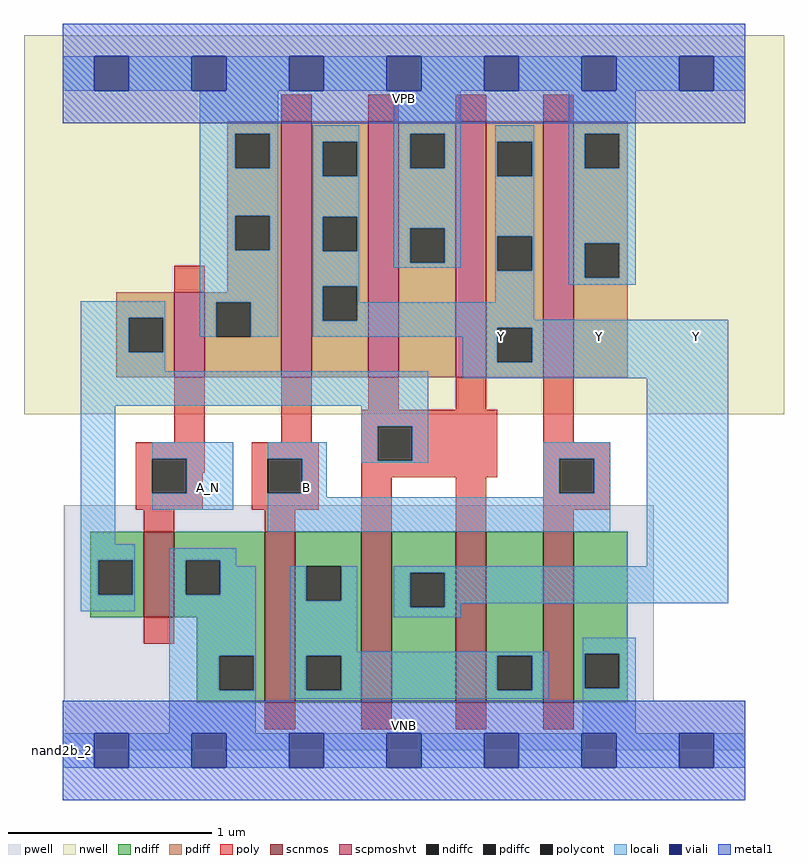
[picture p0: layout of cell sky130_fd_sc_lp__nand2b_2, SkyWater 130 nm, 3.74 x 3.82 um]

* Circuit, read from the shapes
.subckt sky130_fd_sc_lp__nand2b_2 A_N B VGND VNB VPB VPWR Y
XM1 VGND A_N n1 VNB sky130_fd_pr__nfet_01v8 w=0.42 l=0.15
XM2 n2 B VGND VNB sky130_fd_pr__nfet_01v8 w=0.84 l=0.15 m=2
XM3 Y n1 n2 VNB sky130_fd_pr__nfet_01v8 w=0.84 l=0.15 m=2
XM4 VPWR A_N n1 VPB sky130_fd_pr__pfet_01v8_hvt w=0.42 l=0.15
XM5 Y B VPWR VPB sky130_fd_pr__pfet_01v8_hvt w=1.26 l=0.15 m=2
XM6 VPWR n1 Y VPB sky130_fd_pr__pfet_01v8_hvt w=1.26 l=0.15 m=2
.ends

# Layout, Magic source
magic
tech sky130A
magscale 1 2
<< nwell >>
rect -38 331 710 704
<< pwell >>
rect 1 49 582 241
rect 0 0 672 49
<< scnmos >>
rect 80 131 110 215
rect 199 47 229 215
rect 294 47 324 215
rect 387 47 417 215
rect 473 47 503 215
<< scpmoshvt >>
rect 110 367 140 451
rect 215 367 245 619
rect 301 367 331 619
rect 387 367 417 619
rect 473 367 503 619
<< ndiff >>
rect 27 187 80 215
rect 27 153 35 187
rect 69 153 80 187
rect 27 131 80 153
rect 110 187 199 215
rect 110 153 121 187
rect 155 153 199 187
rect 110 131 199 153
rect 132 93 199 131
rect 132 59 154 93
rect 188 59 199 93
rect 132 47 199 59
rect 229 181 294 215
rect 229 147 240 181
rect 274 147 294 181
rect 229 93 294 147
rect 229 59 240 93
rect 274 59 294 93
rect 229 47 294 59
rect 324 175 387 215
rect 324 141 342 175
rect 376 141 387 175
rect 324 47 387 141
rect 417 93 473 215
rect 417 59 428 93
rect 462 59 473 93
rect 417 47 473 59
rect 503 95 556 215
rect 503 61 514 95
rect 548 61 556 95
rect 503 47 556 61
<< pdiff >>
rect 162 607 215 619
rect 162 573 170 607
rect 204 573 215 607
rect 162 526 215 573
rect 162 492 170 526
rect 204 492 215 526
rect 162 451 215 492
rect 53 426 110 451
rect 53 392 65 426
rect 99 392 110 426
rect 53 367 110 392
rect 140 441 215 451
rect 140 407 151 441
rect 185 407 215 441
rect 140 367 215 407
rect 245 599 301 619
rect 245 565 256 599
rect 290 565 301 599
rect 245 525 301 565
rect 245 491 256 525
rect 290 491 301 525
rect 245 457 301 491
rect 245 423 256 457
rect 290 423 301 457
rect 245 367 301 423
rect 331 607 387 619
rect 331 573 342 607
rect 376 573 387 607
rect 331 514 387 573
rect 331 480 342 514
rect 376 480 387 514
rect 331 367 387 480
rect 417 599 473 619
rect 417 565 428 599
rect 462 565 473 599
rect 417 506 473 565
rect 417 472 428 506
rect 462 472 473 506
rect 417 416 473 472
rect 417 382 428 416
rect 462 382 473 416
rect 417 367 473 382
rect 503 607 556 619
rect 503 573 514 607
rect 548 573 556 607
rect 503 499 556 573
rect 503 465 514 499
rect 548 465 556 499
rect 503 367 556 465
<< ndiffc >>
rect 35 153 69 187
rect 121 153 155 187
rect 154 59 188 93
rect 240 147 274 181
rect 240 59 274 93
rect 342 141 376 175
rect 428 59 462 93
rect 514 61 548 95
<< pdiffc >>
rect 170 573 204 607
rect 170 492 204 526
rect 65 392 99 426
rect 151 407 185 441
rect 256 565 290 599
rect 256 491 290 525
rect 256 423 290 457
rect 342 573 376 607
rect 342 480 376 514
rect 428 565 462 599
rect 428 472 462 506
rect 428 382 462 416
rect 514 573 548 607
rect 514 465 548 499
<< poly >>
rect 215 619 245 645
rect 301 619 331 645
rect 387 619 417 645
rect 473 619 503 645
rect 110 451 140 477
rect 110 303 140 367
rect 215 303 245 367
rect 301 335 331 367
rect 387 335 417 367
rect 294 319 428 335
rect 72 287 140 303
rect 72 253 88 287
rect 122 273 140 287
rect 186 287 252 303
rect 122 253 138 273
rect 72 237 138 253
rect 186 253 202 287
rect 236 253 252 287
rect 186 237 252 253
rect 294 285 310 319
rect 344 285 428 319
rect 294 269 428 285
rect 473 303 503 367
rect 473 287 539 303
rect 80 215 110 237
rect 199 215 229 237
rect 294 215 324 269
rect 387 215 417 269
rect 473 253 489 287
rect 523 253 539 287
rect 473 237 539 253
rect 473 215 503 237
rect 80 105 110 131
rect 199 21 229 47
rect 294 21 324 47
rect 387 21 417 47
rect 473 21 503 47
<< polycont >>
rect 88 253 122 287
rect 202 253 236 287
rect 310 285 344 319
rect 489 253 523 287
<< locali >>
rect 0 649 31 683
rect 65 649 127 683
rect 161 649 223 683
rect 257 649 319 683
rect 353 649 415 683
rect 449 649 511 683
rect 545 649 607 683
rect 641 649 672 683
rect 135 607 212 649
rect 135 573 170 607
rect 204 573 212 607
rect 135 526 212 573
rect 135 492 170 526
rect 204 492 212 526
rect 18 426 101 442
rect 18 392 65 426
rect 99 392 101 426
rect 135 441 212 492
rect 135 407 151 441
rect 185 407 212 441
rect 246 599 292 615
rect 246 565 256 599
rect 290 565 292 599
rect 246 525 292 565
rect 246 491 256 525
rect 290 491 292 525
rect 246 457 292 491
rect 326 607 392 649
rect 326 573 342 607
rect 376 573 392 607
rect 326 514 392 573
rect 326 480 342 514
rect 376 480 392 514
rect 326 475 392 480
rect 426 599 464 615
rect 426 565 428 599
rect 462 565 464 599
rect 426 506 464 565
rect 246 423 256 457
rect 290 441 292 457
rect 426 472 428 506
rect 462 472 464 506
rect 426 441 464 472
rect 498 607 564 649
rect 498 573 514 607
rect 548 573 564 607
rect 498 499 564 573
rect 498 465 514 499
rect 548 465 564 499
rect 498 458 564 465
rect 290 424 464 441
rect 290 423 655 424
rect 246 416 655 423
rect 246 407 428 416
rect 18 373 101 392
rect 394 382 428 407
rect 462 382 655 416
rect 18 339 360 373
rect 394 366 655 382
rect 18 203 52 339
rect 294 319 360 339
rect 88 287 168 303
rect 122 253 168 287
rect 88 237 168 253
rect 202 287 260 303
rect 236 253 260 287
rect 294 285 310 319
rect 344 285 360 319
rect 294 283 360 285
rect 473 287 539 303
rect 202 249 260 253
rect 473 253 489 287
rect 523 253 539 287
rect 473 249 539 253
rect 202 215 539 249
rect 18 187 71 203
rect 18 153 35 187
rect 69 153 71 187
rect 18 137 71 153
rect 105 187 171 199
rect 105 153 121 187
rect 155 181 171 187
rect 575 181 655 366
rect 155 153 190 181
rect 105 93 190 153
rect 105 59 154 93
rect 188 59 190 93
rect 105 17 190 59
rect 224 147 240 181
rect 274 147 290 181
rect 224 97 290 147
rect 326 175 655 181
rect 326 141 342 175
rect 376 145 655 175
rect 376 141 392 145
rect 326 131 392 141
rect 224 93 478 97
rect 224 59 240 93
rect 274 59 428 93
rect 462 59 478 93
rect 224 51 478 59
rect 512 95 564 111
rect 512 61 514 95
rect 548 61 564 95
rect 512 17 564 61
rect 0 -17 31 17
rect 65 -17 127 17
rect 161 -17 223 17
rect 257 -17 319 17
rect 353 -17 415 17
rect 449 -17 511 17
rect 545 -17 607 17
rect 641 -17 672 17
<< viali >>
rect 31 649 65 683
rect 127 649 161 683
rect 223 649 257 683
rect 319 649 353 683
rect 415 649 449 683
rect 511 649 545 683
rect 607 649 641 683
rect 31 -17 65 17
rect 127 -17 161 17
rect 223 -17 257 17
rect 319 -17 353 17
rect 415 -17 449 17
rect 511 -17 545 17
rect 607 -17 641 17
<< metal1 >>
rect 0 683 672 715
rect 0 649 31 683
rect 65 649 127 683
rect 161 649 223 683
rect 257 649 319 683
rect 353 649 415 683
rect 449 649 511 683
rect 545 649 607 683
rect 641 649 672 683
rect 0 617 672 649
rect 0 17 672 49
rect 0 -17 31 17
rect 65 -17 127 17
rect 161 -17 223 17
rect 257 -17 319 17
rect 353 -17 415 17
rect 449 -17 511 17
rect 545 -17 607 17
rect 641 -17 672 17
rect 0 -49 672 -17
<< labels >>
flabel pwell s 0 0 672 49 0 FreeSans 200 0 0 0 VNB
port 4 nsew ground bidirectional
flabel nwell s 0 617 672 666 0 FreeSans 200 0 0 0 VPB
port 5 nsew power bidirectional
rlabel comment s 0 0 0 0 4 nand2b_2
flabel metal1 s 0 617 672 666 0 FreeSans 340 0 0 0 VPWR
port 6 nsew power bidirectional
flabel metal1 s 0 0 672 49 0 FreeSans 340 0 0 0 VGND
port 3 nsew ground bidirectional
flabel locali s 415 390 449 424 0 FreeSans 340 0 0 0 Y
port 7 nsew signal output
flabel locali s 511 390 545 424 0 FreeSans 340 0 0 0 Y
port 7 nsew signal output
flabel locali s 607 390 641 424 0 FreeSans 340 0 0 0 Y
port 7 nsew signal output
flabel locali s 127 242 161 276 0 FreeSans 340 0 0 0 A_N
port 1 nsew signal input
flabel locali s 223 242 257 276 0 FreeSans 340 0 0 0 B
port 2 nsew signal input
<< properties >>
string LEFsite unit
string LEFclass CORE
string FIXED_BBOX 0 0 672 666
string GDS_FILE $PDKPATH/libs.ref/sky130_fd_sc_lp/gds/sky130_fd_sc_lp.gds
string LEFsymmetry X Y R90
string GDS_END 4430716
string GDS_START 4424710
<< end >>
